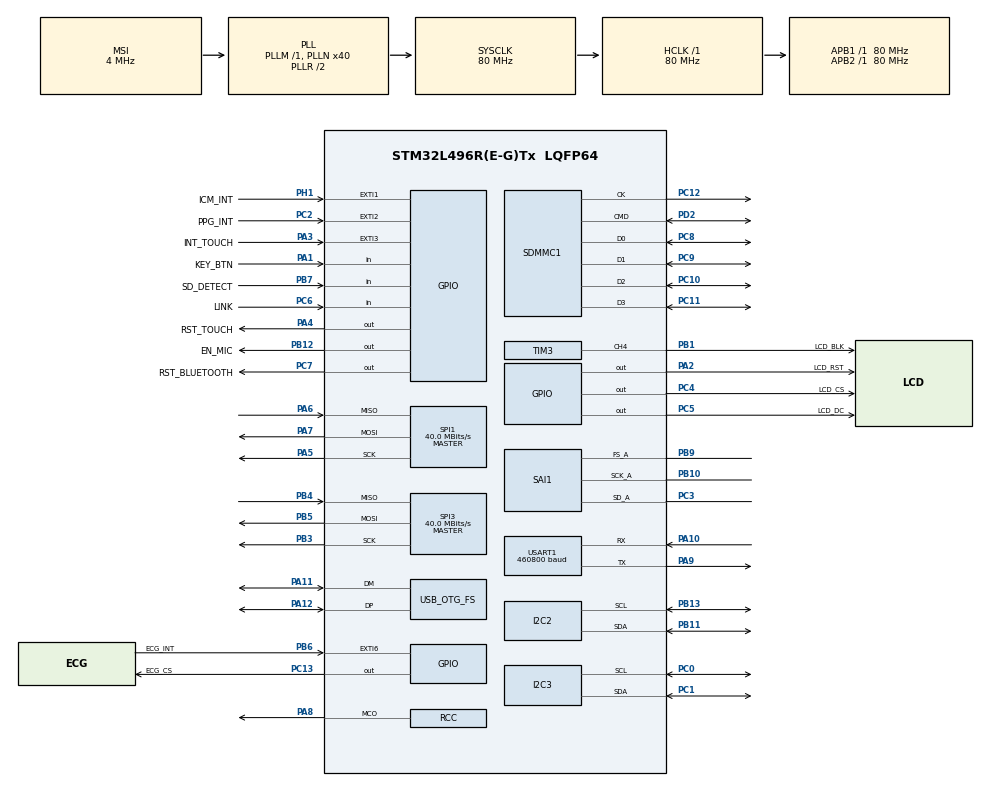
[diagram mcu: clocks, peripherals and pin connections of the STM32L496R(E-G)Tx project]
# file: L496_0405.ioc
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Dma.Request0=SAI1_A
Dma.Request1=SDMMC1_TX
Dma.Request2=SPI1_TX
Dma.Request3=USART1_TX
Dma.Request4=USART1_RX
Dma.Request5=SDMMC1_RX
Dma.SAI1_A.0.Direction=DMA_PERIPH_TO_MEMORY
Dma.SAI1_A.0.Instance=DMA2_Channel6
Dma.SAI1_A.0.MemDataAlignment=DMA_MDATAALIGN_WORD
Dma.SAI1_A.0.MemInc=DMA_MINC_ENABLE
Dma.SAI1_A.0.Mode=DMA_CIRCULAR
Dma.SAI1_A.0.PeriphDataAlignment=DMA_PDATAALIGN_WORD
Dma.SAI1_A.0.PeriphInc=DMA_PINC_DISABLE
Dma.SAI1_A.0.Priority=DMA_PRIORITY_VERY_HIGH
Dma.SDMMC1_RX.5.Direction=DMA_PERIPH_TO_MEMORY
Dma.SDMMC1_RX.5.Instance=DMA2_Channel4
Dma.SDMMC1_RX.5.MemDataAlignment=DMA_MDATAALIGN_WORD
Dma.SDMMC1_RX.5.MemInc=DMA_MINC_ENABLE
Dma.SDMMC1_RX.5.Mode=DMA_NORMAL
Dma.SDMMC1_RX.5.PeriphDataAlignment=DMA_PDATAALIGN_WORD
Dma.SDMMC1_RX.5.PeriphInc=DMA_PINC_DISABLE
Dma.SDMMC1_RX.5.Priority=DMA_PRIORITY_HIGH
Dma.SDMMC1_TX.1.Direction=DMA_MEMORY_TO_PERIPH
Dma.SDMMC1_TX.1.Instance=DMA2_Channel5
Dma.SDMMC1_TX.1.MemDataAlignment=DMA_MDATAALIGN_WORD
Dma.SDMMC1_TX.1.MemInc=DMA_MINC_ENABLE
Dma.SDMMC1_TX.1.Mode=DMA_NORMAL
Dma.SDMMC1_TX.1.PeriphDataAlignment=DMA_PDATAALIGN_WORD
Dma.SDMMC1_TX.1.PeriphInc=DMA_PINC_DISABLE
Dma.SDMMC1_TX.1.Priority=DMA_PRIORITY_HIGH
Dma.SPI1_TX.2.Direction=DMA_MEMORY_TO_PERIPH
Dma.SPI1_TX.2.Instance=DMA1_Channel3
Dma.SPI1_TX.2.MemDataAlignment=DMA_MDATAALIGN_BYTE
Dma.SPI1_TX.2.MemInc=DMA_MINC_ENABLE
Dma.SPI1_TX.2.Mode=DMA_NORMAL
Dma.SPI1_TX.2.PeriphDataAlignment=DMA_PDATAALIGN_BYTE
Dma.SPI1_TX.2.PeriphInc=DMA_PINC_DISABLE
Dma.SPI1_TX.2.Priority=DMA_PRIORITY_LOW
Dma.USART1_RX.4.Direction=DMA_PERIPH_TO_MEMORY
Dma.USART1_RX.4.Instance=DMA1_Channel5
Dma.USART1_RX.4.MemDataAlignment=DMA_MDATAALIGN_BYTE
Dma.USART1_RX.4.MemInc=DMA_MINC_ENABLE
Dma.USART1_RX.4.Mode=DMA_NORMAL
Dma.USART1_RX.4.PeriphDataAlignment=DMA_PDATAALIGN_BYTE
Dma.USART1_RX.4.PeriphInc=DMA_PINC_DISABLE
Dma.USART1_RX.4.Priority=DMA_PRIORITY_LOW
Dma.USART1_TX.3.Direction=DMA_MEMORY_TO_PERIPH
Dma.USART1_TX.3.Instance=DMA1_Channel4
Dma.USART1_TX.3.MemDataAlignment=DMA_MDATAALIGN_BYTE
Dma.USART1_TX.3.MemInc=DMA_MINC_ENABLE
Dma.USART1_TX.3.Mode=DMA_NORMAL
Dma.USART1_TX.3.PeriphDataAlignment=DMA_PDATAALIGN_BYTE
Dma.USART1_TX.3.PeriphInc=DMA_PINC_DISABLE
Dma.USART1_TX.3.Priority=DMA_PRIORITY_LOW
FATFS.BSP.number=1
FATFS.USE_DMA_CODE_SD=1
FATFS._USE_LFN=3
FATFS0.BSP.STBoard=false
FATFS0.BSP.api=Unknown
FATFS0.BSP.instance=PB7
FATFS0.BSP.ip=GPIO
FATFS0.BSP.mode=Input
FATFS0.BSP.name=Detect_SDIO
FATFS0.BSP.solution=PB7
FREERTOS.Events01=EG_SystemState,Dynamic,NULL
FREERTOS.Mutexes01=Mtx_SDCard,Dynamic,NULL,Available
FREERTOS.Tasks01=Task_LVGL,8,2048,StartTask_LVGL,Default,NULL,Dynamic,NULL,NULL;Task_Sensor,48,256,StartTask_Sensor,Default,NULL,Dynamic,NULL,NULL;Task_Audio,25,512,StartTask_Audio,Default,NULL,Dynamic,NULL,NULL;Task_EDF,23,1024,StartTask_EDF,Default,NULL,Dynamic,NULL,NULL;Task_Button,16,256,StartTask_Button,Default,NULL,Dynamic,NULL,NULL;Task_BLE,15,512,StartTask_BLE,Default,NULL,Dynamic,NULL,NULL
FREERTOS.configTOTAL_HEAP_SIZE=20480
I2C2.Timing=0x10D19CE4
I2C3.Timing=0x10D19CE4
Mcu.Family=STM32L4
Mcu.Name=STM32L496R(E-G)Tx
Mcu.Package=LQFP64
NVIC.DMA1_Channel3_IRQn=true\:10\:0\:true\:false\:true\:true\:false\:true\:true
NVIC.DMA1_Channel4_IRQn=true\:8\:0\:true\:false\:true\:true\:false\:true\:true
NVIC.DMA1_Channel5_IRQn=true\:8\:0\:true\:false\:true\:true\:false\:true\:true
NVIC.DMA2_Channel4_IRQn=true\:6\:0\:true\:false\:true\:true\:false\:true\:true
NVIC.DMA2_Channel5_IRQn=true\:6\:0\:true\:false\:true\:true\:false\:true\:true
NVIC.DMA2_Channel6_IRQn=true\:5\:0\:true\:false\:true\:true\:false\:true\:true
NVIC.EXTI1_IRQn=true\:7\:0\:true\:false\:true\:true\:true\:true\:true
NVIC.EXTI2_IRQn=true\:7\:0\:true\:false\:true\:true\:true\:true\:true
NVIC.EXTI3_IRQn=true\:11\:0\:true\:false\:true\:true\:true\:true\:true
NVIC.EXTI9_5_IRQn=true\:7\:0\:true\:false\:true\:true\:true\:true\:true
NVIC.OTG_FS_IRQn=true\:12\:0\:true\:false\:true\:true\:false\:true\:true
NVIC.PriorityGroup=NVIC_PRIORITYGROUP_4
NVIC.SAI1_IRQn=true\:6\:0\:true\:false\:true\:true\:true\:true\:true
NVIC.SDMMC1_IRQn=true\:5\:0\:true\:false\:true\:true\:true\:true\:true
NVIC.SPI1_IRQn=true\:10\:0\:true\:false\:true\:true\:true\:true\:true
NVIC.TIM6_DAC_IRQn=true\:15\:0\:true\:false\:true\:false\:false\:true\:true
NVIC.TimeBase=TIM6_DAC_IRQn
NVIC.TimeBaseIP=TIM6
NVIC.USART1_IRQn=true\:7\:0\:true\:false\:true\:true\:true\:true\:true
PA1.GPIO_Label=KEY_BTN
PA1.Signal=GPIO_Input
PA10.Mode=Asynchronous
PA10.Signal=USART1_RX
PA11.Mode=Device_Only
PA11.Signal=USB_OTG_FS_DM
PA12.Mode=Device_Only
PA12.Signal=USB_OTG_FS_DP
PA13\ (JTMS/SWDIO).Mode=Serial_Wire
PA13\ (JTMS/SWDIO).Signal=SYS_JTMS-SWDIO
PA14\ (JTCK/SWCLK).Mode=Serial_Wire
PA14\ (JTCK/SWCLK).Signal=SYS_JTCK-SWCLK
PA2.GPIO_Label=LCD_RST
PA2.GPIO_Speed=GPIO_SPEED_FREQ_VERY_HIGH
PA2.Signal=GPIO_Output
PA3.GPIO_Label=INT_TOUCH
PA3.GPIO_ModeDefaultEXTI=GPIO_MODE_IT_FALLING
PA3.Signal=GPXTI3
PA4.GPIO_Label=RST_TOUCH
PA4.GPIO_Speed=GPIO_SPEED_FREQ_VERY_HIGH
PA4.PinState=GPIO_PIN_SET
PA4.Signal=GPIO_Output
PA5.Mode=Full_Duplex_Master
PA5.Signal=SPI1_SCK
PA6.Mode=Full_Duplex_Master
PA6.Signal=SPI1_MISO
PA7.Mode=Full_Duplex_Master
PA7.Signal=SPI1_MOSI
PA8.Mode=Clock-out
PA8.Signal=RCC_MCO
PA9.Mode=Asynchronous
PA9.Signal=USART1_TX
PB0.Signal=ADCx_IN15
PB1.GPIO_Label=LCD_BLK
PB1.Signal=S_TIM3_CH4
PB10.Mode=SAI_A_Master
PB10.Signal=SAI1_SCK_A
PB11.Mode=I2C
PB11.Signal=I2C2_SDA
PB12.GPIO_Label=EN_MIC
PB12.Signal=GPIO_Output
PB13.Mode=I2C
PB13.Signal=I2C2_SCL
PB3\ (JTDO/TRACESWO).Mode=Full_Duplex_Master
PB3\ (JTDO/TRACESWO).Signal=SPI3_SCK
PB4\ (NJTRST).Mode=Full_Duplex_Master
PB4\ (NJTRST).Signal=SPI3_MISO
PB5.Mode=Full_Duplex_Master
PB5.Signal=SPI3_MOSI
PB6.GPIO_Label=ECG_INT
PB6.Signal=GPXTI6
PB7.GPIO_Label=SD_DETECT
PB7.GPIO_PuPd=GPIO_PULLUP
PB7.Signal=GPIO_Input
PB9.Mode=SAI_A_Master
PB9.Signal=SAI1_FS_A
PC0.Mode=I2C
PC0.Signal=I2C3_SCL
PC1.Mode=I2C
PC1.Signal=I2C3_SDA
PC10.GPIO_PuPd=GPIO_PULLUP
PC10.Mode=SD_4_bits_Wide_bus
PC10.Signal=SDMMC1_D2
PC11.GPIO_PuPd=GPIO_PULLUP
PC11.Mode=SD_4_bits_Wide_bus
PC11.Signal=SDMMC1_D3
PC12.GPIO_PuPd=GPIO_PULLUP
PC12.Mode=SD_4_bits_Wide_bus
PC12.Signal=SDMMC1_CK
PC13.GPIO_Label=ECG_CS
PC13.Signal=GPIO_Output
PC14-OSC32_IN\ (PC14).Mode=LSE-External-Oscillator
PC14-OSC32_IN\ (PC14).Signal=RCC_OSC32_IN
PC15-OSC32_OUT\ (PC15).Mode=LSE-External-Oscillator
PC15-OSC32_OUT\ (PC15).Signal=RCC_OSC32_OUT
PC2.GPIO_Label=PPG_INT
PC2.Signal=GPXTI2
PC3.Mode=SAI_A_Master
PC3.Signal=SAI1_SD_A
PC4.GPIO_Label=LCD_CS
PC4.GPIO_Speed=GPIO_SPEED_FREQ_VERY_HIGH
PC4.Signal=GPIO_Output
PC5.GPIO_Label=LCD_DC
PC5.GPIO_Speed=GPIO_SPEED_FREQ_VERY_HIGH
PC5.Signal=GPIO_Output
PC6.GPIO_Label=LINK
PC6.Signal=GPIO_Input
PC7.GPIO_Label=RST_BLUETOOTH
PC7.GPIO_Speed=GPIO_SPEED_FREQ_HIGH
PC7.Signal=GPIO_Output
PC8.GPIO_PuPd=GPIO_PULLUP
PC8.Mode=SD_4_bits_Wide_bus
PC8.Signal=SDMMC1_D0
PC9.GPIO_PuPd=GPIO_PULLUP
PC9.Mode=SD_4_bits_Wide_bus
PC9.Signal=SDMMC1_D1
PD2.GPIO_PuPd=GPIO_PULLUP
PD2.Mode=SD_4_bits_Wide_bus
PD2.Signal=SDMMC1_CMD
PH1-OSC_OUT\ (PH1).GPIO_Label=ICM_INT
PH1-OSC_OUT\ (PH1).Signal=GPXTI1
ProjectManager.HeapSize=0x1000
ProjectManager.StackSize=0x1000
ProjectManager.TargetToolchain=CMake
RCC.ADCFreq_Value=48000000
RCC.AHBFreq_Value=80000000
RCC.APB1Freq_Value=80000000
RCC.APB1TimFreq_Value=80000000
RCC.APB2Freq_Value=80000000
RCC.APB2TimFreq_Value=80000000
RCC.CortexFreq_Value=80000000
RCC.HCLKFreq_Value=80000000
RCC.HSE_VALUE=8000000
RCC.HSI48_VALUE=48000000
RCC.HSI_VALUE=16000000
RCC.MSI_VALUE=4000000
RCC.PLLN=40
RCC.PLLSAI1N=24
RCC.RCC_MCO1Source=RCC_MCO1SOURCE_LSE
RCC.SYSCLKFreq_VALUE=80000000
RCC.SYSCLKSource=RCC_SYSCLKSOURCE_PLLCLK
RCC.USBFreq_Value=48000000
RCC.VCOOutputFreq_Value=160000000
SAI1.AudioFrequency-SAI_A_Master=SAI_AUDIO_FREQUENCY_16K
SAI1.AudioMode-SAI_A_Master=SAI_MODEMASTER_RX
SAI1.BasicDataSize-SAI_A_Master=SAI_PROTOCOL_DATASIZE_24BIT
SAI1.BasicSlotNumber-SAI_A_Master=2
SAI1.ErrorAudioFreq-SAI_A_Master=-2.34 %
SAI1.FIFOThreshold-SAI_A_Master=SAI_FIFOTHRESHOLD_HF
SAI1.InitProtocol-SAI_A_Master=Enable
SAI1.Instance-SAI_A_Master=SAI$Index_Block_A
SAI1.MClockEnable-SAI_A_Master=SAI_MASTERCLOCK_DISABLE
SAI1.RealAudioFreq-SAI_A_Master=15.625 KHz
SAI1.VirtualMode-SAI_A_Master=VM_MASTER
SAI1.VirtualProtocol-SAI_A_BASIC=VM_BASIC_PROTOCOL
SDMMC1.ClockBypass=SDMMC_CLOCK_BYPASS_DISABLE
SDMMC1.ClockDiv=2
SDMMC1.HardwareFlowControl=SDMMC_HARDWARE_FLOW_CONTROL_ENABLE
SH.ADCx_IN15.0=ADC1_IN15
SH.S_TIM3_CH4.0=TIM3_CH4,PWM Generation4 CH4
SPI1.CalculateBaudRate=40.0 MBits/s
SPI1.DataSize=SPI_DATASIZE_8BIT
SPI1.Direction=SPI_DIRECTION_2LINES
SPI1.Mode=SPI_MODE_MASTER
SPI1.VirtualType=VM_MASTER
SPI3.CalculateBaudRate=40.0 MBits/s
SPI3.DataSize=SPI_DATASIZE_8BIT
SPI3.Direction=SPI_DIRECTION_2LINES
SPI3.Mode=SPI_MODE_MASTER
SPI3.VirtualType=VM_MASTER
TIM3.Channel-PWM\ Generation4\ CH4=TIM_CHANNEL_4
TIM3.Period=1000
TIM3.Prescaler=79
TIM3.Pulse-PWM\ Generation4\ CH4=800
USART1.BaudRate=460800
USART1.VirtualMode-Asynchronous=VM_ASYNC
USB_DEVICE.CLASS_NAME_FS=CDC
USB_DEVICE.VirtualMode=Cdc
USB_DEVICE.VirtualModeFS=Cdc_FS
USB_OTG_FS.VirtualMode=Device_Only
VP_FATFS_VS_SDIO.Mode=SDIO
VP_FREERTOS_VS_CMSIS_V2.Mode=CMSIS_V2
VP_SAI1_VP_$IpInstance_SAIA_SAI_BASIC.Mode=SAI_A_BASIC
VP_SYS_VS_tim6.Mode=TIM6
VP_USB_DEVICE_VS_USB_DEVICE_CDC_FS.Mode=CDC_FS
board=custom

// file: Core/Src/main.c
/* USER CODE BEGIN Header */
/* USER CODE END Header */
#include "main.h"
#include "cmsis_os.h"
#include "dma.h"
#include "fatfs.h"
#include "i2c.h"
#include "sai.h"
#include "sdmmc.h"
#include "spi.h"
#include "tim.h"
#include "usart.h"
#include "usb_device.h"
#include "gpio.h"

/* USER CODE BEGIN Includes */
#include <string.h>
#include "lvgl.h"
#include "../../User/Config/usb_printf.h"
#include "../../User/touch.h"
#include "usbd_cdc_if.h"
#include "max3003.h"
#include "ecg_record_control.h"
#include "icm20948.h"
#include "usb_device.h"
/* USER CODE END Includes */

/* USER CODE BEGIN PV */
volatile uint8_t is_usb_streaming = 0;
volatile uint8_t g_rtos_started = 0;
uint8_t ble_rx_buf[BLE_RX_BUF_SIZE];
volatile uint16_t ble_rx_len = 0;
volatile uint8_t ble_rx_flag = 0;
volatile uint8_t touch_int_flag = 0;
extern DMA_HandleTypeDef hdma_usart1_rx;  /* Defined in usart.c for USART1 RX DMA */

volatile uint8_t ecg_streaming = 0;             /* ECG流使能标志 */
volatile uint32_t ecg_irq_count = 0;             /* ECG INTB 中断计数 */
volatile uint32_t icm_irq_count = 0;             /* ICM INT1 中断计数 */
volatile uint32_t ppg_irq_count = 0;             /* PPG A_FULL 中断计数 */

/* EcgTask handle (定义在 freertos.c) — 用于ISR→Task直接通知 */
extern TaskHandle_t EcgTaskHandle;
extern TaskHandle_t PpgTaskHandle;
extern TaskHandle_t ImuTaskHandle;
/* USER CODE END PV */

void SystemClock_Config(void);
void PeriphCommonClock_Config(void);
void MX_FREERTOS_Init(void);

/* USER CODE BEGIN 0 */

#if ICM_INT_LINE_PULLDOWN_TEST_ENABLE
/**
  * @brief  ICM_INT 线路拉低测试 — 先通过 I2C3 释放 ICM20948 INT1，再测线路
  * @note   1. I2C3 访问 ICM20948，禁用所有中断，清除锁存状态，软复位
  *         2. 重配 PH1 为开漏输出
  *         3. 循环 3s LOW / 3s RELEASE
  *         阻塞式运行，在 MX_I2C3_Init() 后进入。
  */
static void ICM_INT_Line_Pulldown_Test_With_ICM_Release(void)
{
    extern I2C_HandleTypeDef hi2c3;
    GPIO_InitTypeDef GPIO_InitStruct = {0};
    HAL_StatusTypeDef s;
    uint8_t val;
    uint8_t addr8;

    /* === 阶段 1: 通过 I2C3 释放 ICM20948 INT1 === */
    addr8 = (uint8_t)(ICM20948_ADDR << 1);

    /* 选 Bank 0 */
    val = 0x00;
    HAL_I2C_Mem_Write(&hi2c3, addr8, REG_BANK_SEL,
                      I2C_MEMADD_SIZE_8BIT, &val, 1, 100);

    /* 读 WHO_AM_I 确认 ICM 可达 */
    s = HAL_I2C_Mem_Read(&hi2c3, addr8, REG_WHO_AM_I,
                         I2C_MEMADD_SIZE_8BIT, &val, 1, 100);

    if (s == HAL_OK && val == 0xEA) {
        /* a. 禁用所有中断使能 */
        val = 0x00;
        HAL_I2C_Mem_Write(&hi2c3, addr8, 0x10, I2C_MEMADD_SIZE_8BIT, &val, 1, 100); // INT_ENABLE
        HAL_I2C_Mem_Write(&hi2c3, addr8, 0x11, I2C_MEMADD_SIZE_8BIT, &val, 1, 100); // INT_ENABLE_1
        HAL_I2C_Mem_Write(&hi2c3, addr8, 0x12, I2C_MEMADD_SIZE_8BIT, &val, 1, 100); // INT_ENABLE_2
        HAL_I2C_Mem_Write(&hi2c3, addr8, 0x13, I2C_MEMADD_SIZE_8BIT, &val, 1, 100); // INT_ENABLE_3

        /* b. 读全部 INT_STATUS 清除锁存中断 */
        HAL_I2C_Mem_Read(&hi2c3, addr8, 0x19, I2C_MEMADD_SIZE_8BIT, &val, 1, 100);
        HAL_I2C_Mem_Read(&hi2c3, addr8, 0x1A, I2C_MEMADD_SIZE_8BIT, &val, 1, 100);
        HAL_I2C_Mem_Read(&hi2c3, addr8, 0x1B, I2C_MEMADD_SIZE_8BIT, &val, 1, 100);
        HAL_I2C_Mem_Read(&hi2c3, addr8, 0x1C, I2C_MEMADD_SIZE_8BIT, &val, 1, 100);

        /* c. INT_PIN_CFG = 0x00，释放 INT1 引脚控制 */
        val = 0x00;
        HAL_I2C_Mem_Write(&hi2c3, addr8, REG_INT_PIN_CFG,
                          I2C_MEMADD_SIZE_8BIT, &val, 1, 100);

        /* d. 软件复位 ICM，清除所有内部状态 */
        val = 0x80;
        HAL_I2C_Mem_Write(&hi2c3, addr8, REG_PWR_MGMT_1,
                          I2C_MEMADD_SIZE_8BIT, &val, 1, 100);
        HAL_Delay(50);
        val = 0x01;  // 唤醒
        HAL_I2C_Mem_Write(&hi2c3, addr8, REG_PWR_MGMT_1,
                          I2C_MEMADD_SIZE_8BIT, &val, 1, 100);
    }

    /* ICM 释放后延时，确保 INT1 线路稳定 */
    HAL_Delay(100);

    /* === 阶段 2: 重配 PH1 为开漏输出，开始线路测试 === */

    /* 禁用 EXTI1，清 pending */
    HAL_NVIC_DisableIRQ(EXTI1_IRQn);
    __HAL_GPIO_EXTI_CLEAR_IT(ICM_INT_Pin);

    /* 重配 PH1 = 开漏输出 + 上拉 */
    HAL_GPIO_DeInit(ICM_INT_GPIO_Port, ICM_INT_Pin);

    GPIO_InitStruct.Pin   = ICM_INT_Pin;
    GPIO_InitStruct.Mode  = GPIO_MODE_OUTPUT_OD;
    GPIO_InitStruct.Pull  = GPIO_PULLUP;
    GPIO_InitStruct.Speed = GPIO_SPEED_FREQ_LOW;
    HAL_GPIO_Init(ICM_INT_GPIO_Port, &GPIO_InitStruct);

    /* 初始释放为高阻 */
    HAL_GPIO_WritePin(ICM_INT_GPIO_Port, ICM_INT_Pin, GPIO_PIN_SET);
    HAL_Delay(1000);

    /* 循环: LOW 3s → RELEASE 3s */
    while (1) {
        HAL_GPIO_WritePin(ICM_INT_GPIO_Port, ICM_INT_Pin, GPIO_PIN_RESET);
        HAL_Delay(3000);
        HAL_GPIO_WritePin(ICM_INT_GPIO_Port, ICM_INT_Pin, GPIO_PIN_SET);
        HAL_Delay(3000);
    }
}
#endif /* ICM_INT_LINE_PULLDOWN_TEST_ENABLE */

static void ECG_FCLK_MCO_ForceInit(void)
{
    GPIO_InitTypeDef GPIO_InitStruct = {0};

    __HAL_RCC_GPIOA_CLK_ENABLE();

    GPIO_InitStruct.Pin = GPIO_PIN_8;              /* MCO1 = PA8 */
    GPIO_InitStruct.Mode = GPIO_MODE_AF_PP;
    GPIO_InitStruct.Pull = GPIO_NOPULL;
    GPIO_InitStruct.Speed = GPIO_SPEED_FREQ_LOW;
    GPIO_InitStruct.Alternate = GPIO_AF0_MCO;
    HAL_GPIO_Init(GPIOA, &GPIO_InitStruct);

    HAL_RCC_MCOConfig(RCC_MCO1, RCC_MCO1SOURCE_LSE, RCC_MCODIV_1);
}
/* USER CODE END 0 */

int main(void)
{

  /* MCU Configuration--------------------------------------------------------*/

  /* Reset of all peripherals, Initializes the Flash interface and the Systick. */
   HAL_Init();

  /* Configure the system clock */
  SystemClock_Config();

  /* Configure the peripherals common clocks */
  PeriphCommonClock_Config();

  /* Initialize all configured peripherals */
  MX_GPIO_Init();
#if ICM_INT_LINE_PULLDOWN_TEST_ENABLE
  ICM_INT_Line_Pulldown_Test();
#endif
  MX_DMA_Init();
  MX_SDMMC1_SD_Init();
  MX_SAI1_Init();
  MX_FATFS_Init();
  MX_I2C2_Init();
  MX_I2C3_Init();
  MX_USART1_UART_Init();
  MX_TIM3_Init();
  MX_SPI3_Init();
  MX_SPI1_Init();
  /* USER CODE BEGIN 2 */
  ECG_FCLK_MCO_ForceInit();

  MX_USB_DEVICE_Init();
  /* USER CODE END 2 */

  /* Init scheduler */
  osKernelInitialize();

  /* Call init function for freertos objects (in cmsis_os2.c) */
  MX_FREERTOS_Init();

  /* Start scheduler */
  osKernelStart();

  /* We should never get here as control is now taken by the scheduler */

  /* Infinite loop */
  while (1)
  {

  }
}

void SystemClock_Config(void)
{
  RCC_OscInitTypeDef RCC_OscInitStruct = {0};
  RCC_ClkInitTypeDef RCC_ClkInitStruct = {0};

  /** Configure the main internal regulator output voltage
  */
  if (HAL_PWREx_ControlVoltageScaling(PWR_REGULATOR_VOLTAGE_SCALE1) != HAL_OK)
  {
    Error_Handler();
  }

  /** Configure LSE Drive Capability
  */
  HAL_PWR_EnableBkUpAccess();
  __HAL_RCC_LSEDRIVE_CONFIG(RCC_LSEDRIVE_LOW);

  /** Initializes the RCC Oscillators according to the specified parameters
  * in the RCC_OscInitTypeDef structure.
  */
  RCC_OscInitStruct.OscillatorType = RCC_OSCILLATORTYPE_LSE|RCC_OSCILLATORTYPE_MSI;
  RCC_OscInitStruct.LSEState = RCC_LSE_ON;
  RCC_OscInitStruct.MSIState = RCC_MSI_ON;
  RCC_OscInitStruct.MSICalibrationValue = 0;
  RCC_OscInitStruct.MSIClockRange = RCC_MSIRANGE_6;
  RCC_OscInitStruct.PLL.PLLState = RCC_PLL_ON;
  RCC_OscInitStruct.PLL.PLLSource = RCC_PLLSOURCE_MSI;
  RCC_OscInitStruct.PLL.PLLM = 1;
  RCC_OscInitStruct.PLL.PLLN = 40;
  RCC_OscInitStruct.PLL.PLLP = RCC_PLLP_DIV2;
  RCC_OscInitStruct.PLL.PLLQ = RCC_PLLQ_DIV2;
  RCC_OscInitStruct.PLL.PLLR = RCC_PLLR_DIV2;
  if (HAL_RCC_OscConfig(&RCC_OscInitStruct) != HAL_OK)
  {
    Error_Handler();
  }

  /** Initializes the CPU, AHB and APB buses clocks
  */
  RCC_ClkInitStruct.ClockType = RCC_CLOCKTYPE_HCLK|RCC_CLOCKTYPE_SYSCLK
                              |RCC_CLOCKTYPE_PCLK1|RCC_CLOCKTYPE_PCLK2;
  RCC_ClkInitStruct.SYSCLKSource = RCC_SYSCLKSOURCE_PLLCLK;
  RCC_ClkInitStruct.AHBCLKDivider = RCC_SYSCLK_DIV1;
  RCC_ClkInitStruct.APB1CLKDivider = RCC_HCLK_DIV1;
  RCC_ClkInitStruct.APB2CLKDivider = RCC_HCLK_DIV1;

  if (HAL_RCC_ClockConfig(&RCC_ClkInitStruct, FLASH_LATENCY_4) != HAL_OK)
  {
    Error_Handler();
  }
  HAL_RCC_MCOConfig(RCC_MCO1, RCC_MCO1SOURCE_LSE, RCC_MCODIV_1);

  /** Enable MSI Auto calibration
  */
  HAL_RCCEx_EnableMSIPLLMode();
}

void PeriphCommonClock_Config(void)
{
  RCC_PeriphCLKInitTypeDef PeriphClkInit = {0};

  /** Initializes the peripherals clock
  */
  PeriphClkInit.PeriphClockSelection = RCC_PERIPHCLK_SAI1|RCC_PERIPHCLK_USB
                              |RCC_PERIPHCLK_SDMMC1;
  PeriphClkInit.Sai1ClockSelection = RCC_SAI1CLKSOURCE_PLLSAI1;
  PeriphClkInit.UsbClockSelection = RCC_USBCLKSOURCE_PLLSAI1;
  PeriphClkInit.Sdmmc1ClockSelection = RCC_SDMMC1CLKSOURCE_PLLSAI1;
  PeriphClkInit.PLLSAI1.PLLSAI1Source = RCC_PLLSOURCE_MSI;
  PeriphClkInit.PLLSAI1.PLLSAI1M = 1;
  PeriphClkInit.PLLSAI1.PLLSAI1N = 24;
  PeriphClkInit.PLLSAI1.PLLSAI1P = RCC_PLLP_DIV2;
  PeriphClkInit.PLLSAI1.PLLSAI1Q = RCC_PLLQ_DIV2;
  PeriphClkInit.PLLSAI1.PLLSAI1R = RCC_PLLR_DIV2;
  PeriphClkInit.PLLSAI1.PLLSAI1ClockOut = RCC_PLLSAI1_SAI1CLK|RCC_PLLSAI1_48M2CLK;
  if (HAL_RCCEx_PeriphCLKConfig(&PeriphClkInit) != HAL_OK)
  {
    Error_Handler();
  }
}

/* USER CODE BEGIN 4 */
/**
  * @brief UART Rx Event Callback (IDLE interrupt)
  * @param huart: UART handle
  * @param Size: Number of data received
  * @retval None
  */
void HAL_UARTEx_RxEventCallback(UART_HandleTypeDef *huart, uint16_t Size)
{
  if (huart->Instance == USART1) {
    ble_rx_len = Size;
    ble_rx_flag = 1;
    /* 可选：如果你用了 OS Semaphore 通知 Task_BLE 解析，在这里 osSemaphoreRelease */

    /* 重新启动接收 */
    HAL_UARTEx_ReceiveToIdle_DMA(&huart1, ble_rx_buf, BLE_RX_BUF_SIZE);
    __HAL_DMA_DISABLE_IT(&hdma_usart1_rx, DMA_IT_HT);
  }
}

/**
  * @brief GPIO EXTI Callback
  * @note  Handles ECG_INT, PPG_INT, ICM_INT.
  * @param GPIO_Pin: Pin number that triggered the interrupt
  */
void HAL_GPIO_EXTI_Callback(uint16_t GPIO_Pin)
{
  BaseType_t xHigherPriorityTaskWoken = pdFALSE;

  if (GPIO_Pin == ECG_INT_Pin) {
    ecg_irq_count++;

    if (ecg_streaming && EcgTaskHandle != NULL) {
      vTaskNotifyGiveFromISR(EcgTaskHandle, &xHigherPriorityTaskWoken);
    }
  }
  else if (GPIO_Pin == PPG_INT_Pin) {
    ppg_irq_count++;
    if (PpgTaskHandle != NULL) {
      vTaskNotifyGiveFromISR(PpgTaskHandle, &xHigherPriorityTaskWoken);
    }
  }
  else if (GPIO_Pin == ICM_INT_Pin) {
    icm_irq_count++;
    if (ImuTaskHandle != NULL) {
      vTaskNotifyGiveFromISR(ImuTaskHandle, &xHigherPriorityTaskWoken);
    }
  }

  portYIELD_FROM_ISR(xHigherPriorityTaskWoken);
}
/* USER CODE END 4 */

void HAL_TIM_PeriodElapsedCallback(TIM_HandleTypeDef *htim)
{
  if (htim->Instance == TIM6)
  {
    HAL_IncTick();
  }
}

void Error_Handler(void)
{
}

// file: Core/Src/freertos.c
/* USER CODE BEGIN Header */
/* USER CODE END Header */

#include "FreeRTOS.h"
#include "task.h"
#include "main.h"
#include "cmsis_os.h"

/* USER CODE BEGIN Includes */
#include <string.h>
#include <stdarg.h>
#include <stdio.h>
#include "usb_printf.h"
#include "stm32l4xx_hal_uart.h"
#include "app_lvgl.h"
#include "max3003.h"
#include "max30102.h"
#include "icm20948.h"
#include "usbd_cdc_if.h"
#include "usbd_core.h"
#include "ecg_record_control.h"
#include "ecg_usb_dump.h"
#include "app_log.h"
#include "sd_debug_log.h"
#include "multi_sensor_logger.h"
#include "sd_sensor_logger.h"
/* USER CODE END Includes */

/* USER CODE BEGIN Variables */
/* External variables from main.c */
extern volatile uint8_t ecg_streaming;
extern volatile uint32_t ecg_irq_count;
extern uint8_t ble_rx_buf[];
extern volatile uint16_t ble_rx_len;
extern volatile uint8_t ble_rx_flag;
extern UART_HandleTypeDef huart1;
extern DMA_HandleTypeDef hdma_usart1_rx;

TaskHandle_t EcgTaskHandle = NULL;             /* ECG任务句柄, 供ISR直接通知 */
TaskHandle_t PpgTaskHandle = NULL;             /* PPG任务句柄 */
TaskHandle_t ImuTaskHandle = NULL;             /* IMU任务句柄 */

/* ECG 临时 RAM 缓存 (短期观察用，不用作长期存储) */
#define ECG_BUFFER_SIZE 10240
int16_t ecg_buffer[ECG_BUFFER_SIZE];
volatile uint32_t ecg_buf_idx = 0;

typedef enum {
    SYS_STATE_IDLE = 0,
    SYS_STATE_RECORDING
} SysState_t;

volatile SysState_t g_sys_state = SYS_STATE_IDLE;
/* USB TX 统计计数器 */
volatile uint32_t usb_tx_ok_count = 0;
volatile uint32_t usb_tx_busy_count = 0;
volatile uint32_t usb_tx_drop_count = 0;

/* 任务创建错误掩码 (bit0=LVGL, bit1=Sensor, bit2=SDWriter, bit3=USBDump, bit4=Audio, bit5=Button, bit6=BLE) */
volatile uint32_t g_task_create_error = 0;

/* === MAX30102 中断/FIFO 诊断变量 (Sensor 任务写入, LCD 读取) === */
volatile uint8_t g_ppg_ie1      = 0;  /* INTERRUPT_ENABLE1 readback */
volatile uint8_t g_ppg_is1      = 0;  /* INTERRUPT_STATUS1 readback */
volatile uint8_t g_ppg_fifo_wr  = 0;  /* FIFO_WR_POINTER & 0x1F */
volatile uint8_t g_ppg_fifo_rd  = 0;  /* FIFO_RD_POINTER & 0x1F */
volatile uint8_t g_ppg_fifo_ov  = 0;  /* FIFO_OV_COUNTER & 0x1F */
volatile uint8_t g_ppg_mode     = 0;  /* MODE_CONFIGURATION */
/* USER CODE END Variables */

/* Definitions for Task_LVGL */
osThreadId_t Task_LVGLHandle;
const osThreadAttr_t Task_LVGL_attributes = {
  .name = "Task_LVGL",
  .stack_size = 2048 * 4,
  .priority = (osPriority_t) osPriorityLow,
};
/* Definitions for Task_Sensor */
osThreadId_t Task_SensorHandle;
const osThreadAttr_t Task_Sensor_attributes = {
  .name = "Task_Sensor",
  .stack_size = 2048 * 4,
  .priority = (osPriority_t) osPriorityAboveNormal,
};
/* Definitions for Task_Audio */
osThreadId_t Task_AudioHandle;
const osThreadAttr_t Task_Audio_attributes = {
  .name = "Task_Audio",
  .stack_size = 256 * 4,
  .priority = (osPriority_t) osPriorityNormal1,
};
/* Definitions for Task_Button */
osThreadId_t Task_ButtonHandle;
const osThreadAttr_t Task_Button_attributes = {
  .name = "Task_Button",
  .stack_size = 256 * 4,
  .priority = (osPriority_t) osPriorityBelowNormal,
};
/* Definitions for Task_BLE */
osThreadId_t Task_BLEHandle;
const osThreadAttr_t Task_BLE_attributes = {
  .name = "Task_BLE",
  .stack_size = 256 * 4,
  .priority = (osPriority_t) osPriorityLow7,
};
/* Definitions for Task_PPG */
osThreadId_t Task_PPGHandle;
const osThreadAttr_t Task_PPG_attributes = {
  .name = "Task_PPG",
  .stack_size = 1024 * 4,
  .priority = (osPriority_t) osPriorityNormal,
};
/* Definitions for Task_IMU */
osThreadId_t Task_IMUHandle;
const osThreadAttr_t Task_IMU_attributes = {
  .name = "Task_IMU",
  .stack_size = 1024 * 4,
  .priority = (osPriority_t) osPriorityNormal,
};
/* Definitions for Task_MultiSensor_SDWriter */
osThreadId_t Task_MultiSensor_SDWriterHandle;
const osThreadAttr_t Task_MultiSensor_SDWriter_attributes = {
  .name = "Task_MSWriter",
  .stack_size = 2048 * 4,
  .priority = (osPriority_t) osPriorityBelowNormal,
};
/* Definitions for Task_ECG_USBDump */
osThreadId_t Task_ECG_USBDumpHandle;
const osThreadAttr_t Task_ECG_USBDump_attributes = {
  .name = "Task_ECG_USBDump",
  .stack_size = 1024 * 4,
  .priority = (osPriority_t) osPriorityLow,
};
/* Definitions for Task_PPGDiagWriter */
const osThreadAttr_t Task_PPGDiagWriter_attributes = {
  .name = "Task_PPGDiagWr",
  .stack_size = 512 * 4,
  .priority = (osPriority_t) osPriorityBelowNormal7,
};
/* Definitions for Mtx_SDCard */
osMutexId_t Mtx_SDCardHandle;
const osMutexAttr_t Mtx_SDCard_attributes = {
  .name = "Mtx_SDCard"
};

/* USER CODE BEGIN FunctionPrototypes */
void Safe_USB_Printf(const char *format, ...);
static void APP_ICM20948_IntFlagAndPinLevelCheck(void);
static void APP_Log_PPG_INT_Diag_To_SD(uint32_t seq);
/* USER CODE END FunctionPrototypes */

void StartTask_LVGL(void *argument);
void StartTask_Sensor(void *argument);
void StartTask_Button(void *argument);
void StartTask_PPG(void *argument);
void StartTask_IMU(void *argument);

extern void MX_USB_DEVICE_Init(void);
void MX_FREERTOS_Init(void);

void MX_FREERTOS_Init(void) {

  /* Create the mutex(es) */
  Mtx_SDCardHandle = osMutexNew(&Mtx_SDCard_attributes);

  /* USER CODE BEGIN RTOS_QUEUES */
  MultiSensorLogger_InitQueue();
  PPGDiag_InitQueue();
  /* USER CODE END RTOS_QUEUES */

  /* Create the thread(s) */
  /* creation of Task_LVGL */
  Task_LVGLHandle = osThreadNew(StartTask_LVGL, NULL, &Task_LVGL_attributes);
  if (Task_LVGLHandle == NULL) g_task_create_error |= (1UL << 0);

  /* creation of Task_Sensor */
  Task_SensorHandle = osThreadNew(StartTask_Sensor, NULL, &Task_Sensor_attributes);
  if (Task_SensorHandle == NULL) g_task_create_error |= (1UL << 1);

  /* creation of Task_Button */
  Task_ButtonHandle = osThreadNew(StartTask_Button, NULL, &Task_Button_attributes);
  if (Task_ButtonHandle == NULL) g_task_create_error |= (1UL << 5);

  /* USER CODE BEGIN RTOS_THREADS */
  /* PPG 采集任务 */
  Task_PPGHandle = osThreadNew(StartTask_PPG, NULL, &Task_PPG_attributes);
  if (Task_PPGHandle == NULL) g_task_create_error |= (1UL << 6);

  /* IMU 采集任务 */
  Task_IMUHandle = osThreadNew(StartTask_IMU, NULL, &Task_IMU_attributes);
  if (Task_IMUHandle == NULL) g_task_create_error |= (1UL << 7);

  /* 多传感器 SD Writer (取代旧的 ECG_SDWriter) */
  Task_MultiSensor_SDWriterHandle = osThreadNew(StartTask_MultiSensor_SDWriter, NULL, &Task_MultiSensor_SDWriter_attributes);
  if (Task_MultiSensor_SDWriterHandle == NULL) g_task_create_error |= (1UL << 2);

  /* PPG INT 诊断 SD Writer */
  osThreadNew(StartTask_PPGDiagWriter, NULL, &Task_PPGDiagWriter_attributes);

  /* USB Dump Task — V1 不创建 */
  /* USER CODE END RTOS_THREADS */
}

void StartTask_LVGL(void *argument)
{
  MX_USB_DEVICE_Init();
  /* USER CODE BEGIN StartTask_LVGL */
  (void)argument;

  /* 1. 等待 USB 枚举完成 */
  osDelay(2000);

  /* 2. 启动蓝牙 UART 空闲中断 DMA 接收 */
  HAL_UARTEx_ReceiveToIdle_DMA(&huart1, ble_rx_buf, BLE_RX_BUF_SIZE);
  __HAL_DMA_DISABLE_IT(&hdma_usart1_rx, DMA_IT_HT);

  /* 3. USB CDC 就绪（V1 关闭 USB 日志） */
  APP_USB_LOG("\r\n[SYS] RTOS Started, USB CDC Ready!\r\n");

  /* 4. 初始化 LVGL 显示 + V1 ECG 控制界面 */
  APP_LVGL_Init();

  for(;;) {
    APP_LVGL_Process();
    osDelay(5);
  }
  /* USER CODE END StartTask_LVGL */
}

void StartTask_Sensor(void *argument)
{
  /* USER CODE BEGIN StartTask_Sensor */
  (void)argument;

  EcgTaskHandle = xTaskGetCurrentTaskHandle();

  osDelay(3000);

  /* SD debug log — 必须在 RTOS 运行后才能安全调用 f_mount */
  SD_DebugLog_Init();

  APP_USB_LOG("[ECG_V1] Sensor task started\r\n");

  /* I2C3 传感器一次性初始化 (失败不影响 ECG) */
  MAX30102_InitResult_t ppg_ret = MAX30102_Init();
  uint8_t icm_ret = ICM20948_Init();

  Safe_USB_Printf("\r\n[SENSOR_INIT]\r\n");
  if (ppg_ret == MAX30102_INIT_OK)
      Safe_USB_Printf("[MAX30102] I2C CALL OK, INIT OK\r\n");
  else if (ppg_ret == MAX30102_INIT_NOT_FOUND)
      Safe_USB_Printf("[MAX30102] I2C CALL FAIL, DEVICE NOT FOUND\r\n");
  else if (ppg_ret == MAX30102_INIT_CONFIG_FAILED)
      Safe_USB_Printf("[MAX30102] I2C CALL OK BUT CONFIG FAILED\r\n");
  else
      Safe_USB_Printf("[MAX30102] UNKNOWN INIT RESULT=%d\r\n", (int)ppg_ret);

  if (icm_ret == 0) {
      Safe_USB_Printf("[ICM20948] INIT OK (WHO_AM_I + 10x probe passed)\r\n");
  } else {
      Safe_USB_Printf("[ICM20948] INIT FAILED, RET=%u"
                      " (1=WHO_AM_I,2=PWR,3=Bank2,4=INT_CFG,5=VerifyRd,6=VerifyVal,7=10xWHO)\r\n",
                      (unsigned int)icm_ret);
  }
  Safe_USB_Printf("[/SENSOR_INIT]\r\n");

  if (ppg_ret == MAX30102_INIT_OK)          SD_DebugLog_WriteLine("MAX30102_INIT_OK");
  else if (ppg_ret == MAX30102_INIT_NOT_FOUND) SD_DebugLog_WriteLine("MAX30102_INIT_NOT_FOUND");
  else                                       SD_DebugLog_WriteLine("MAX30102_INIT_CONFIG_FAILED");

  if (icm_ret == 0) {
      SD_DebugLog_WriteLine("ICM20948_INIT_OK");
  } else {
      char icm_err[32];
      snprintf(icm_err, sizeof(icm_err), "ICM20948_INIT_FAILED,RET=%u", (unsigned int)icm_ret);
      SD_DebugLog_WriteLine(icm_err);
  }

  /* ICM20948 中断标志+引脚电平验证 — 仅在 ICM 初始化成功后执行一次 */
  if (icm_ret == 0) {
      APP_ICM20948_IntFlagAndPinLevelCheck();
  }

  /* ECG 初始化照旧，不受 PPG/ICM 影响 */
  MAX30003_Init();
  MAX30003_PollLeadStatus();
  SD_DebugLog_WriteLine("MAX30003_INIT_DONE");

  /* 初始不采集 */
  ecg_streaming = 0;
  g_sys_state = SYS_STATE_IDLE;

  for (;;) {
    if (g_ecg_rec.request_start) {
      g_ecg_rec.request_start = 0;

      if (g_ecg_rec.state == ECG_REC_IDLE ||
          g_ecg_rec.state == ECG_REC_STOPPED ||
          g_ecg_rec.state == ECG_REC_ERROR) {

        g_ecg_rec.state = ECG_REC_RECORDING;

        MultiSensorLogger_ResetForNewRecording();

        /* 等待 MSWriter 打开文件，最多 3000ms */
        uint32_t t0 = HAL_GetTick();
        while (!g_ecg_rec.sd_file_opened && (HAL_GetTick() - t0 < 3000)) {
            osDelay(10);
        }

        if (!g_ecg_rec.sd_file_opened) {
            g_ecg_rec.state = ECG_REC_ERROR;
            SD_DebugLog_WriteLine("ERROR_SD_OPEN_TIMEOUT");
            continue;
        }

        SD_DebugLog_WriteLine("RECORD_START");

        ecg_buf_idx = 0;
        g_sys_state = SYS_STATE_RECORDING;
        ECG_ResetStats();

        while (ulTaskNotifyTake(pdTRUE, 0) > 0) {}
        __HAL_GPIO_EXTI_CLEAR_IT(ECG_INT_Pin);
        __HAL_GPIO_EXTI_CLEAR_IT(PPG_INT_Pin);
        __HAL_GPIO_EXTI_CLEAR_IT(ICM_INT_Pin);

        {
            uint8_t s1, s2;
            MAX30102_ClearInterruptStatus(&s1, &s2);
        }
        ICM20948_ClearInterruptStatus();

        MAX30102_EnableFifoAlmostFullInterrupt();
        ICM20948_EnableDataReadyInterrupt();

        ecg_streaming = 1;
        MAX30003_StartStream();
      }
    }

    if (g_ecg_rec.request_stop) {
      g_ecg_rec.request_stop = 0;

      if (g_ecg_rec.state == ECG_REC_RECORDING) {
        ecg_streaming = 0;
        MAX30003_StopStream();

        MAX30102_DisableInterrupts();
        ICM20948_DisableDataReadyInterrupt();

        MultiSensorLogger_RequestStopAndFlush();
        g_ecg_rec.state = ECG_REC_STOPPING;

        SD_DebugLog_WriteLine("RECORD_STOP_REQUEST");
      }
    }

    if (ecg_streaming && g_ecg_rec.state == ECG_REC_RECORDING) {
      (void)ulTaskNotifyTake(pdTRUE, pdMS_TO_TICKS(5));
      MAX30003_Task();
    } else {
      osDelay(20);
    }

    /* 低频轮询电极状态 (4Hz)，Idle 也持续检测 */
    static uint32_t last_lead_poll = 0;
    if (HAL_GetTick() - last_lead_poll >= 250) {
        last_lead_poll = HAL_GetTick();
        MAX30003_PollLeadStatus();
    }

    if (g_ecg_rec.request_save_info) {
      g_ecg_rec.request_save_info = 0;
      SD_DebugLog_WriteSnapshot();
    }

    /* PPG INT 诊断 SD 采集 — 每 200ms 记录一条到 ppg_int_diag.csv */
    static uint32_t last_ppg_diag_tick = 0;
    static uint32_t ppg_diag_seq = 0;
    if (HAL_GetTick() - last_ppg_diag_tick >= 200) {
      last_ppg_diag_tick = HAL_GetTick();
      APP_Log_PPG_INT_Diag_To_SD(ppg_diag_seq++);
    }
  }
  /* USER CODE END StartTask_Sensor */
}

void StartTask_PPG(void *argument)
{
  /* USER CODE BEGIN StartTask_PPG */
  (void)argument;
  PpgTaskHandle = xTaskGetCurrentTaskHandle();

  static uint32_t ppg_seq = 0;
  static uint32_t last_heartbeat = 0;
  extern volatile uint32_t ppg_irq_count;

  Safe_USB_Printf("[PPG] interrupt-driven USB stream ready\r\n");

  for (;;) {
    ulTaskNotifyTake(pdTRUE, portMAX_DELAY);

    if (g_ecg_rec.state != ECG_REC_RECORDING) {
      continue;
    }

    uint32_t ir_buf[32];
    uint32_t red_buf[32];

    uint8_t n = MAX30102_ReadFIFO_Batch(ir_buf, red_buf, 32);

    for (uint8_t i = 0; i < n; i++) {
      Safe_USB_Printf("PPG,%lu,%lu,%lu,%lu\r\n",
                      ppg_seq++,
                      HAL_GetTick(),
                      ir_buf[i],
                      red_buf[i]);

      /*
       * 暂时注释 SD 写入以保证 USB 实时打印稳定性。
       * SD 写入可后续恢复: MultiSensorLogger_AddPPG(ir_buf[i], red_buf[i]);
       */
    }

    /* 每秒心跳 (不在数据行中混入日志) */
    if (HAL_GetTick() - last_heartbeat >= 1000) {
      last_heartbeat = HAL_GetTick();
      char hb[48];
      snprintf(hb, sizeof(hb), "PPG_ALIVE,irq=%lu,seq=%lu",
               (unsigned long)ppg_irq_count, (unsigned long)ppg_seq);
      SD_DebugLog_WriteLine(hb);
    }
  }
  /* USER CODE END StartTask_PPG */
}

void StartTask_IMU(void *argument)
{
  /* USER CODE BEGIN StartTask_IMU */
  (void)argument;
  ImuTaskHandle = xTaskGetCurrentTaskHandle();

  for (;;) {
    ulTaskNotifyTake(pdTRUE, portMAX_DELAY);

    if (g_ecg_rec.state != ECG_REC_RECORDING) {
      continue;
    }

    int16_t ax, ay, az, gx, gy, gz;

    if (ICM20948_ReadAccelGyroRaw(&ax, &ay, &az, &gx, &gy, &gz) == 0) {
      MultiSensorLogger_AddIMU(ax, ay, az, gx, gy, gz);
    }
  }
  /* USER CODE END StartTask_IMU */
}

void StartTask_Audio(void *argument)
{
  (void)argument;
  for(;;) {
    osDelay(1000);
  }
}

void StartTask_Button(void *argument)
{
  /* USER CODE BEGIN StartTask_Button */
  (void)argument;
  uint8_t prev = 1;

  for(;;) {
      uint8_t curr = HAL_GPIO_ReadPin(KEY_BTN_GPIO_Port, KEY_BTN_Pin);

      if (prev == 1 && curr == 0) {
          osDelay(20);
          if (HAL_GPIO_ReadPin(KEY_BTN_GPIO_Port, KEY_BTN_Pin) == 0) {
              /* 物理按键：toggle start/stop */
              if (g_ecg_rec.state == ECG_REC_IDLE ||
                  g_ecg_rec.state == ECG_REC_STOPPED ||
                  g_ecg_rec.state == ECG_REC_ERROR) {
                  ECG_RequestStart();
              } else if (g_ecg_rec.state == ECG_REC_RECORDING) {
                  ECG_RequestStop();
              }
          }
      }
      prev = curr;
      osDelay(20);
  }
  /* USER CODE END StartTask_Button */
}

void StartTask_BLE(void *argument)
{
  /* USER CODE BEGIN StartTask_BLE */
  (void)argument;

  for(;;) {
    if (ble_rx_flag) {
      if (ble_rx_len < BLE_RX_BUF_SIZE) {
        ble_rx_buf[ble_rx_len] = '\0';
      } else {
        ble_rx_buf[BLE_RX_BUF_SIZE - 1] = '\0';
      }
      ble_rx_flag = 0;
      ble_rx_len = 0;
    }

    osDelay(10);
  }
  /* USER CODE END StartTask_BLE */
}

/* USER CODE BEGIN Application */

/**
  * @brief  ICM20948 中断标志+引脚电平最小验证 — PIN→ST1→PIN 顺序读
  * @note   在锁存模式下先读 PH1 电平再读 INT_STATUS_1 再读 PH1 电平，
  *         避免读状态寄存器意外清除锁存中断后引脚恢复高。
  *         结果输出到 SD debug_log 和 USB CDC (一次性)。
  */
static void APP_ICM20948_IntFlagAndPinLevelCheck(void)
{
    char line[192];

    uint8_t cfg_after_enable = 0;
    uint8_t en1_after_enable = 0;

    GPIO_PinState pin_before_wait;
    GPIO_PinState pin_before_st1;
    GPIO_PinState pin_after_st1;

    uint8_t st1 = 0;

    uint32_t irq_before = 0;
    uint32_t irq_after = 0;

    extern volatile uint32_t icm_irq_count;

    SD_DebugLog_WriteLine("ICM_INT_FLAG_PIN_CHECK_BEGIN");
    Safe_USB_Printf("\r\n[ICM_INT_FLAG_PIN_CHECK_BEGIN]\r\n");

    /* 1. 关闭旧中断并清旧状态 */
    ICM20948_DisableDataReadyInterrupt();
    ICM20948_ClearInterruptStatus();
    osDelay(20);

    /* 2. 开启锁存式 Data Ready 中断 */
    ICM20948_EnableLatchedDataReadyInterrupt_Debug();
    osDelay(5);

    /* 3. 读回确认锁存配置是否生效 */
    cfg_after_enable = ICM20948_ReadBank0Reg_Debug(0x0F); // INT_PIN_CFG
    en1_after_enable = ICM20948_ReadBank0Reg_Debug(0x11); // INT_ENABLE_1

    snprintf(line, sizeof(line),
             "ICM_CFG_CHECK,CFG=0x%02X,EN1=0x%02X",
             cfg_after_enable,
             en1_after_enable);
    SD_DebugLog_WriteLine(line);
    Safe_USB_Printf("%s\r\n", line);

    /* 4. 记录等待前的引脚和IRQ计数 */
    pin_before_wait = HAL_GPIO_ReadPin(ICM_INT_GPIO_Port, ICM_INT_Pin);
    irq_before = icm_irq_count;

    snprintf(line, sizeof(line),
             "ICM_BEFORE_WAIT,PIN=%u,IRQ=%lu",
             (unsigned)pin_before_wait,
             (unsigned long)irq_before);
    SD_DebugLog_WriteLine(line);
    Safe_USB_Printf("%s\r\n", line);

    /* 5. 等待 Data Ready 产生 (50Hz ODR, 120ms内应有多次) */
    osDelay(120);

    /* 6. 核心验证: 先读PIN, 再读ST1, 再读PIN */
    pin_before_st1 = HAL_GPIO_ReadPin(ICM_INT_GPIO_Port, ICM_INT_Pin);

    st1 = ICM20948_ReadBank0Reg_Debug(0x1A);  // INT_STATUS_1

    pin_after_st1 = HAL_GPIO_ReadPin(ICM_INT_GPIO_Port, ICM_INT_Pin);

    irq_after = icm_irq_count;

    snprintf(line, sizeof(line),
             "ICM_FLAG_PIN_RESULT,PIN_BEFORE_ST1=%u,ST1=0x%02X,PIN_AFTER_ST1=%u,IRQ_BEFORE=%lu,IRQ_AFTER=%lu",
             (unsigned)pin_before_st1,
             st1,
             (unsigned)pin_after_st1,
             (unsigned long)irq_before,
             (unsigned long)irq_after);
    SD_DebugLog_WriteLine(line);
    Safe_USB_Printf("%s\r\n", line);

    /* 7. 结束后关闭中断并清状态 */
    ICM20948_DisableDataReadyInterrupt();
    ICM20948_ClearInterruptStatus();

    SD_DebugLog_WriteLine("ICM_INT_FLAG_PIN_CHECK_END");
    Safe_USB_Printf("[ICM_INT_FLAG_PIN_CHECK_END]\r\n");
}

/**
  * @brief  PPG INT 诊断采集 → SD 队列
  * @note   150ms 周期调用。先读引脚电平 → 读 STATUS1 → 再读引脚电平。
  *         读取 STATUS1 会清除对应中断状态（仅用于调试）。
  */
static void APP_Log_PPG_INT_Diag_To_SD(uint32_t seq)
{
    SensorRecord_t rec;
    memset(&rec, 0, sizeof(rec));
    rec.timestamp_ms = HAL_GetTick();
    rec.seq = seq;
    rec.type = SENSOR_REC_PPG_INT_DIAG;

    extern volatile uint32_t ppg_irq_count;

    /* 1. 先读 PPG_INT 引脚电平 */
    GPIO_PinState s = HAL_GPIO_ReadPin(PPG_INT_GPIO_Port, PPG_INT_Pin);
    rec.data.ppg_int_diag.pin_before = (s == GPIO_PIN_SET) ? 1 : 0;
    rec.data.ppg_int_diag.irq_count  = ppg_irq_count;

    /* 2. 读 I2C 寄存器 */
    uint8_t ie1 = 0xEE, status1 = 0xEE, wr = 0xEE, rd = 0xEE, ov = 0xEE;

    MAX30102_ReadBuffer(INTERRUPT_ENABLE1, &ie1, 1);

    /*
     * NOTE: 读取 INTERRUPT_STATUS1 会清除对应中断状态并释放 INT 引脚。
     * 后续正式中断采集版本中，应避免在非事件处理处频繁读取 STATUS1。
     */
    MAX30102_ReadBuffer(INTERRUPT_STATUS1, &status1, 1);

    MAX30102_ReadBuffer(FIFO_WR_POINTER, &wr, 1);
    MAX30102_ReadBuffer(FIFO_RD_POINTER, &rd, 1);
    MAX30102_ReadBuffer(FIFO_OV_COUNTER, &ov, 1);

    rec.data.ppg_int_diag.status1 = status1;
    rec.data.ppg_int_diag.ie1     = ie1;
    rec.data.ppg_int_diag.fifo_wr = wr & 0x1F;
    rec.data.ppg_int_diag.fifo_rd = rd & 0x1F;
    rec.data.ppg_int_diag.fifo_ov = ov & 0x1F;

    /* 3. 读取 STATUS1 后，立即再次读引脚电平 */
    s = HAL_GPIO_ReadPin(PPG_INT_GPIO_Port, PPG_INT_Pin);
    rec.data.ppg_int_diag.pin_after = (s == GPIO_PIN_SET) ? 1 : 0;

    /* 4. 入 SD 队列，异步写卡 */
    PPGDiag_Enqueue(&rec);
}

/**
  * @brief  Producer: 将 ECG 样本存入 RAM buffer 和 SD 队列
  */
void Packagedata_AddEcgSample(int16_t ecg)
{
  if (g_ecg_rec.state != ECG_REC_RECORDING) {
    return;
  }

  if (g_sys_state == SYS_STATE_RECORDING) {
    /* RAM 缓存（短期观察） */
    if (ecg_buf_idx < ECG_BUFFER_SIZE) {
      ecg_buffer[ecg_buf_idx++] = ecg;
    }

    /* 多传感器 block logger (取代旧 ECG_SDLogger_Enqueue) */
    MultiSensorLogger_AddECG(ecg);
  }
}

/**
  * @brief  Safe_USB_Printf — 调试日志打印
  * @note   使用 CDC_Transmit_FS_Blocking 阻塞发送，带 200ms 超时。
  *         仅在采样停止后使用，采样进行中不要高频调用。
  */
void Safe_USB_Printf(const char *format, ...)
{
  char buf[384];
  extern USBD_HandleTypeDef hUsbDeviceFS;

  if (format == NULL) return;

  /* USB 未配置时直接丢弃 */
  if (hUsbDeviceFS.dev_state != USBD_STATE_CONFIGURED ||
      hUsbDeviceFS.pClassData == NULL) {
    usb_tx_drop_count++;
    return;
  }

  /* 格式化 */
  va_list args;
  va_start(args, format);
  int len = vsnprintf(buf, sizeof(buf), format, args);
  va_end(args);

  if (len <= 0) return;
  if (len >= (int)sizeof(buf)) {
    len = (int)sizeof(buf) - 1;
    buf[len] = '\0';
  }

  /* 阻塞发送 (200ms 超时) */
  uint8_t ret = CDC_Transmit_FS_Blocking((uint8_t*)buf, (uint16_t)len, 200);
  if (ret == USBD_OK) {
    usb_tx_ok_count++;
  } else if (ret == USBD_BUSY) {
    usb_tx_busy_count++;
  } else {
    usb_tx_drop_count++;
  }
}

void vApplicationStackOverflowHook(TaskHandle_t xTask, char *pcTaskName)
{
  (void)xTask;
  (void)pcTaskName;
  taskDISABLE_INTERRUPTS();
  while (1) { __NOP(); }
}

void vApplicationMallocFailedHook(void)
{
  taskDISABLE_INTERRUPTS();
  while (1) { __NOP(); }
}
/* USER CODE END Application */
